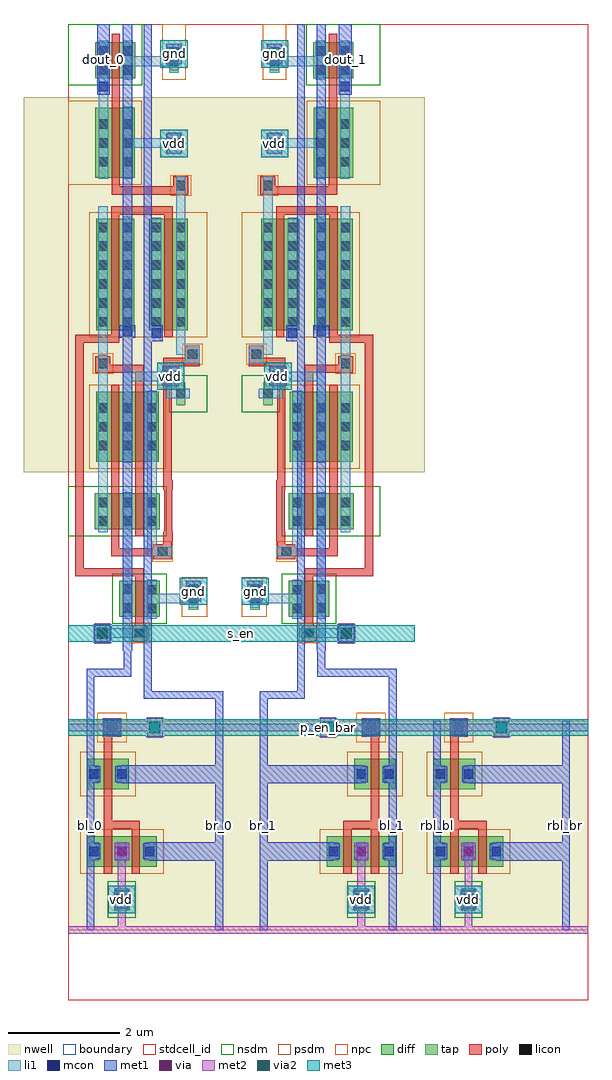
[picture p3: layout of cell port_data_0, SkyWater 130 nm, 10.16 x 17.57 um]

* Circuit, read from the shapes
.subckt port_data_0 bl_0 bl_1 br_0 br_1 dout_0 dout_1 gnd p_en_bar rbl_bl rbl_br s_en vdd
XM1 n1 n2 n3 gnd sky130_fd_pr__nfet_01v8 w=0.65 l=0.15
XM2 gnd n2 dout_0 gnd sky130_fd_pr__nfet_01v8 w=0.65 l=0.15
XM3 gnd s_en n1 gnd sky130_fd_pr__nfet_01v8 w=0.65 l=0.15
XM4 n2 n3 n1 gnd sky130_fd_pr__nfet_01v8 w=0.65 l=0.15
XM5 n4 s_en gnd gnd sky130_fd_pr__nfet_01v8 w=0.65 l=0.15
XM6 n4 n5 n6 gnd sky130_fd_pr__nfet_01v8 w=0.65 l=0.15
XM7 dout_1 n6 gnd gnd sky130_fd_pr__nfet_01v8 w=0.65 l=0.15
XM8 n5 n6 n4 gnd sky130_fd_pr__nfet_01v8 w=0.65 l=0.15
XM9 vdd p_en_bar bl_0 vdd sky130_fd_pr__pfet_01v8 w=0.55 l=0.15
XM10 br_0 p_en_bar bl_0 vdd sky130_fd_pr__pfet_01v8 w=0.55 l=0.15
XM11 vdd n2 n3 vdd sky130_fd_pr__pfet_01v8 w=1.26 l=0.15
XM12 bl_0 s_en n3 vdd sky130_fd_pr__pfet_01v8 w=2 l=0.15
XM13 vdd n2 dout_0 vdd sky130_fd_pr__pfet_01v8 w=1.26 l=0.15
XM14 br_0 p_en_bar vdd vdd sky130_fd_pr__pfet_01v8 w=0.55 l=0.15
XM15 n2 n3 vdd vdd sky130_fd_pr__pfet_01v8 w=1.26 l=0.15
XM16 n2 s_en br_0 vdd sky130_fd_pr__pfet_01v8 w=2 l=0.15
XM17 br_1 s_en n6 vdd sky130_fd_pr__pfet_01v8 w=2 l=0.15
XM18 vdd n5 n6 vdd sky130_fd_pr__pfet_01v8 w=1.26 l=0.15
XM19 dout_1 n6 vdd vdd sky130_fd_pr__pfet_01v8 w=1.26 l=0.15
XM20 n5 n6 vdd vdd sky130_fd_pr__pfet_01v8 w=1.26 l=0.15
XM21 n5 s_en bl_1 vdd sky130_fd_pr__pfet_01v8 w=2 l=0.15
XM22 vdd p_en_bar br_1 vdd sky130_fd_pr__pfet_01v8 w=0.55 l=0.15
XM23 bl_1 p_en_bar vdd vdd sky130_fd_pr__pfet_01v8 w=0.55 l=0.15
XM24 bl_1 p_en_bar br_1 vdd sky130_fd_pr__pfet_01v8 w=0.55 l=0.15
XM25 vdd p_en_bar rbl_bl vdd sky130_fd_pr__pfet_01v8 w=0.55 l=0.15
XM26 rbl_br p_en_bar rbl_bl vdd sky130_fd_pr__pfet_01v8 w=0.55 l=0.15
XM27 rbl_br p_en_bar vdd vdd sky130_fd_pr__pfet_01v8 w=0.55 l=0.15
.ends

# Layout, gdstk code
from math import pi, radians
import gdstk
lib = gdstk.Library(unit=1e-6, precision=1e-09)
def R(c, l, rs):  # rectangles x0, y0, x1, y1
    for r in rs: c.add(gdstk.rectangle(r[:2], r[2:], *l))
def A(c, l, x, y, w, h, nx, ny, dx, dy):  # array of equal rectangles
    R(c, l, [(x+i*dx, y+j*dy, x+i*dx+w, y+j*dy+h) for i in range(nx) for j in range(ny)])
nwell = (64, 20)
diff = (65, 20)
tap = (65, 44)
poly = (66, 20)
licon = (66, 44)
li1 = (67, 20)
mcon = (67, 44)
met1 = (68, 20)
via = (68, 44)
met2 = (69, 20)
via2 = (69, 44)
met3 = (70, 20)
stdcell_id = (81, 4)
nsdm = (93, 44)
psdm = (94, 20)
npc = (95, 20)
boundary = (235, 4)

contact_11 = lib.new_cell('contact_11')
R(contact_11, nwell, [(-0.295,-0.255,0.545,0.585)])
R(contact_11, diff, [(0,0.02,0.25,0.31)])
R(contact_11, licon, [(0.04,0.08,0.21,0.25)])
R(contact_11, li1, [(0.04,0,0.21,0.33)])
R(contact_11, stdcell_id, [(-0.295,-0.255,0.545,0.585)])
R(contact_11, psdm, [(-0.125,-0.105,0.375,0.435)])
R(contact_11, boundary, [(-0.295,-0.255,0.545,0.585)])

pmos_m1_w0_550_sli_dli = lib.new_cell('pmos_m1_w0_550_sli_dli')
R(pmos_m1_w0_550_sli_dli, nwell, [(-0.27,-0.27,1.02,0.82)])
R(pmos_m1_w0_550_sli_dli, diff, [(0,0,0.75,0.55)])
R(pmos_m1_w0_550_sli_dli, poly, [(0.3,-0.13,0.45,0.68), (0.3,-0.13,0.45,0.68)])
R(pmos_m1_w0_550_sli_dli, li1, [(0.04,0.11,0.21,0.44), (0.54,0.11,0.71,0.44)])
R(pmos_m1_w0_550_sli_dli, stdcell_id, [(-0.27,-0.27,1.02,0.82)])
R(pmos_m1_w0_550_sli_dli, psdm, [(-0.125,-0.125,0.875,0.675)])
R(pmos_m1_w0_550_sli_dli, boundary, [(-0.27,-0.27,1.02,0.82)])
pmos_m1_w0_550_sli_dli.add(gdstk.Reference(contact_11, (0,0.11)))
pmos_m1_w0_550_sli_dli.add(gdstk.Reference(contact_11, (0.5,0.11)))
pmos_m1_w0_550_sli_dli.add(gdstk.Label('S', (0.125,0.275), layer=67, texttype=16))
pmos_m1_w0_550_sli_dli.add(gdstk.Label('G', (0.375,0.275), layer=66, texttype=16))
pmos_m1_w0_550_sli_dli.add(gdstk.Label('D', (0.625,0.275), layer=67, texttype=16))

contact_12 = lib.new_cell('contact_12')
R(contact_12, poly, [(0,0,0.33,0.33)])
R(contact_12, licon, [(0.08,0.08,0.25,0.25)])
R(contact_12, li1, [(0.08,0,0.25,0.33)])
R(contact_12, stdcell_id, [(-0.1,-0.1,0.43,0.43)])
R(contact_12, npc, [(-0.1,-0.1,0.43,0.43)])
R(contact_12, boundary, [(-0.1,-0.1,0.43,0.43)])

contact_7 = lib.new_cell('contact_7')
R(contact_7, li1, [(0.06,0,0.23,0.33)])
R(contact_7, mcon, [(0.06,0.08,0.23,0.25)])
R(contact_7, met1, [(0,0.05,0.29,0.28)])
R(contact_7, stdcell_id, [(0,0,0.29,0.33)])
R(contact_7, boundary, [(0,0,0.29,0.33)])

contact_8 = lib.new_cell('contact_8')
R(contact_8, met1, [(0,0.03,0.32,0.29)])
R(contact_8, via, [(0.085,0.085,0.235,0.235)])
R(contact_8, met2, [(0.03,0,0.29,0.32)])
R(contact_8, stdcell_id, [(0,0,0.32,0.32)])
R(contact_8, boundary, [(0,0,0.32,0.32)])

contact_13 = lib.new_cell('contact_13')
R(contact_13, nwell, [(-0.295,-0.215,0.545,0.625)])
R(contact_13, tap, [(0,0,0.25,0.41)])
R(contact_13, licon, [(0.04,0.12,0.21,0.29)])
R(contact_13, li1, [(0.04,0.04,0.21,0.37)])
R(contact_13, stdcell_id, [(-0.295,-0.215,0.545,0.625)])
R(contact_13, nsdm, [(-0.125,-0.125,0.375,0.535)])
R(contact_13, boundary, [(-0.295,-0.215,0.545,0.625)])

contact_14 = lib.new_cell('contact_14')
R(contact_14, met1, [(0,0,0.26,0.32)])
R(contact_14, via, [(0.055,0.085,0.205,0.235)])
R(contact_14, met2, [(0,0,0.26,0.32)])
R(contact_14, stdcell_id, [(0,0,0.26,0.32)])
R(contact_14, boundary, [(0,0,0.26,0.32)])

contact_15 = lib.new_cell('contact_15')
R(contact_15, met2, [(0.025,0,0.305,0.37)])
R(contact_15, via2, [(0.065,0.085,0.265,0.285)])
R(contact_15, met3, [(0,0.02,0.33,0.35)])
R(contact_15, stdcell_id, [(0,0,0.33,0.37)])
R(contact_15, boundary, [(0,0,0.33,0.37)])

contact_16 = lib.new_cell('contact_16')
R(contact_16, li1, [(0.03,0,0.2,0.33)])
R(contact_16, mcon, [(0.03,0.08,0.2,0.25)])
R(contact_16, met1, [(0,0.02,0.23,0.31)])
R(contact_16, stdcell_id, [(0,0,0.23,0.33)])
R(contact_16, boundary, [(0,0,0.23,0.33)])

precharge_1 = lib.new_cell('precharge_1')
R(precharge_1, nwell, [(0,0,3.12,3.77)])
R(precharge_1, poly, [(0.64,0.05,0.79,0.2), (0.715,0.05,0.79,0.2), (0.64,0.125,0.79,0.56), (0.64,1.37,0.79,1.95), (0.64,1.8,1.29,1.95)])
R(precharge_1, met1, [(0.63,-0.005,0.95,0.255), (0.33,0,0.47,3.77), (0.33,0,0.47,3.77), (2.65,0,2.79,3.77), (2.65,0,2.79,3.77), (0.4,0.8,0.465,1.13), (0.965,0.8,2.72,1.13), (0.4,2.19,0.465,2.52), (1.465,2.19,2.72,2.52), (0.835,2.195,1.095,2.515)])
R(precharge_1, met2, [(0,0.055,3.12,0.195), (0.895,2.355,1.035,3.77), (0.825,3.1,1.105,3.34), (0,3.7,3.12,3.84)])
R(precharge_1, met3, [(0.72,2.975,1.21,3.465)])
R(precharge_1, stdcell_id, [(0,0,3.12,3.77)])
R(precharge_1, boundary, [(0,0,3.12,3.77)])
precharge_1.add(gdstk.Reference(pmos_m1_w0_550_sli_dli, (0.34,0.69)))
precharge_1.add(gdstk.Reference(pmos_m1_w0_550_sli_dli, (0.34,2.08)))
precharge_1.add(gdstk.Reference(pmos_m1_w0_550_sli_dli, (0.84,2.08)))
precharge_1.add(gdstk.Reference(contact_12, (0.625,-0.04)))
precharge_1.add(gdstk.Reference(contact_7, (0.645,-0.04)))
precharge_1.add(gdstk.Reference(contact_8, (0.63,-0.035)))
precharge_1.add(gdstk.Reference(contact_13, (0.84,3.015)))
precharge_1.add(gdstk.Reference(contact_7, (0.82,3.055)))
precharge_1.add(gdstk.Reference(contact_14, (0.835,3.06)))
precharge_1.add(gdstk.Reference(contact_15, (0.8,3.035)))
precharge_1.add(gdstk.Reference(contact_16, (0.85,2.19)))
precharge_1.add(gdstk.Reference(contact_14, (0.835,2.195)))
precharge_1.add(gdstk.Reference(contact_16, (0.35,0.8)))
precharge_1.add(gdstk.Reference(contact_16, (0.85,0.8)))
precharge_1.add(gdstk.Reference(contact_16, (0.35,2.19)))
precharge_1.add(gdstk.Reference(contact_16, (1.35,2.19)))
precharge_1.add(gdstk.Label('bl', (0.4,1.885), layer=68, texttype=16))
precharge_1.add(gdstk.Label('br', (2.72,1.885), layer=68, texttype=16))
precharge_1.add(gdstk.Label('en_bar', (1.56,0.125), layer=69, texttype=16))
precharge_1.add(gdstk.Label('vdd', (0.965,3.22), layer=70, texttype=16))

contact_9 = lib.new_cell('contact_9')
R(contact_9, met2, [(0.025,0,0.305,0.37)])
R(contact_9, via2, [(0.065,0.085,0.265,0.285)])
R(contact_9, met3, [(0,0.02,0.33,0.35)])
R(contact_9, stdcell_id, [(0,0,0.33,0.37)])
R(contact_9, boundary, [(0,0,0.33,0.37)])

precharge_array_0 = lib.new_cell('precharge_array_0')
R(precharge_array_0, met1, [(0.33,0,0.47,3.77), (2.65,0,2.79,3.77), (3.45,0,3.59,3.77), (5.77,0,5.91,3.77), (6.57,0,6.71,3.77), (8.89,0,9.03,3.77)])
R(precharge_array_0, met3, [(0,-0.025,9.36,0.275), (0.72,2.975,1.21,3.465), (5.03,2.975,5.52,3.465), (6.96,2.975,7.45,3.465)])
R(precharge_array_0, stdcell_id, [(0,0,9.36,3.77)])
R(precharge_array_0, boundary, [(0,0,9.36,3.77)])
precharge_array_0.add(gdstk.Reference(precharge_1, (0,0)))
precharge_array_0.add(gdstk.Reference(precharge_1, (6.24,0), rotation=pi, x_reflection=True))
precharge_array_0.add(gdstk.Reference(precharge_1, (6.24,0)))
precharge_array_0.add(gdstk.Reference(contact_9, (1.395,-0.06)))
precharge_array_0.add(gdstk.Reference(contact_9, (4.515,-0.06)))
precharge_array_0.add(gdstk.Reference(contact_9, (7.635,-0.06)))
precharge_array_0.add(gdstk.Label('br_2', (8.96,1.885), layer=68, texttype=16))
precharge_array_0.add(gdstk.Label('br_0', (2.72,1.885), layer=68, texttype=16))
precharge_array_0.add(gdstk.Label('en_bar', (4.68,0.125), layer=70, texttype=16))
precharge_array_0.add(gdstk.Label('bl_0', (0.4,1.885), layer=68, texttype=16))
precharge_array_0.add(gdstk.Label('bl_2', (6.64,1.885), layer=68, texttype=16))
precharge_array_0.add(gdstk.Label('br_1', (3.52,1.885), layer=68, texttype=16))
precharge_array_0.add(gdstk.Label('bl_1', (5.84,1.885), layer=68, texttype=16))
precharge_array_0.add(gdstk.Label('vdd', (7.205,3.22), layer=70, texttype=16))
precharge_array_0.add(gdstk.Label('vdd', (0.965,3.22), layer=70, texttype=16))
precharge_array_0.add(gdstk.Label('vdd', (5.275,3.22), layer=70, texttype=16))

sense_amp = lib.new_cell('sense_amp')
R(sense_amp, nwell, [(-0.8,1.32,3.42,2.62), (-0.8,2.62,3.41,8.07)])
R(sense_amp, diff, [(0.49,0.33,1.21,0.98), (0.49,1.51,1.2,2.77), (0.5,3.51,1.19,5.51), (1.46,3.51,2.15,5.51), (0.5,6.62,1.63,7.88), (0.48,8.445,1.65,9.095), (0.92,10.025,1.65,10.675)])
R(sense_amp, tap, [(1.82,0.415,1.99,0.875), (1.94,6.45,2.11,6.86), (2.17,10.085,2.34,10.545)])
R(sense_amp, poly, [(0.78,0.18,0.93,2.92), (1.89,2.74,2.16,2.92), (0.78,2.92,2.16,3.07), (0.77,3.28,1.88,3.43), (0.77,3.43,0.92,5.59), (1.73,3.43,1.88,5.64), (0.13,5.59,0.92,5.74), (0.13,5.74,0.28,9.795), (2.15,5.78,2.37,5.79), (2.1,5.79,2.37,6.01), (0.54,5.95,0.71,5.98), (0.49,5.98,0.76,6.13), (1.71,6.01,2.37,6.16), (0.49,6.13,1.36,6.28), (1.71,6.16,1.86,8.21), (1.21,6.28,1.36,9.225), (0.77,6.49,0.92,9.435), (1.71,8.21,1.88,8.38), (1.725,8.38,1.875,9.14), (1.71,9.14,1.88,9.31), (1.71,9.31,1.86,9.365), (1.53,9.365,1.86,9.435), (0.77,9.435,1.86,9.585), (1.53,9.585,1.86,9.635), (0.13,9.795,1.36,9.945), (1.21,9.945,1.36,10.8), (1.2,10.8,1.37,10.83), (1.15,10.83,1.42,11.1), (1.2,11.1,1.37,11.13)])
A(sense_amp, licon, 0.55, 1.715, 0.17, 0.17, 1, 3, 0, 0.34)
A(sense_amp, licon, 0.99, 1.715, 0.17, 0.17, 1, 3, 0, 0.34)
A(sense_amp, licon, 0.54, 3.575, 0.17, 0.17, 1, 6, 0, 0.34)
A(sense_amp, licon, 0.98, 3.575, 0.17, 0.17, 1, 6, 0, 0.34)
A(sense_amp, licon, 1.5, 3.575, 0.17, 0.17, 1, 6, 0, 0.34)
A(sense_amp, licon, 1.94, 3.575, 0.17, 0.17, 1, 6, 0, 0.34)
A(sense_amp, licon, 0.54, 6.825, 0.17, 0.17, 3, 3, 0.44, 0.34)
A(sense_amp, licon, 0.54, 8.525, 0.17, 0.17, 3, 2, 0.44, 0.34)
R(sense_amp, licon, [(0.55,0.4,0.72,0.57), (0.99,0.4,1.16,0.57), (1.82,0.585,1.99,0.755), (0.55,0.74,0.72,0.91), (0.99,0.74,1.16,0.91), (1.94,2.82,2.11,2.99), (2.15,5.86,2.32,6.03), (0.54,6.03,0.71,6.2), (1.94,6.57,2.11,6.74), (1.61,9.415,1.78,9.585), (0.98,10.09,1.15,10.26), (1.42,10.1,1.59,10.27), (2.17,10.255,2.34,10.425), (0.98,10.43,1.15,10.6), (1.42,10.44,1.59,10.61), (1.2,10.88,1.37,11.05)])
R(sense_amp, li1, [(0.55,0.3,0.72,2.79), (0.98,0.3,1.16,0.58), (1.82,0.415,1.99,0.58), (0.98,0.58,1.99,0.76), (0.98,0.76,1.16,1), (1.82,0.76,1.99,0.835), (0.99,1.49,1.16,2.06), (0.99,2.06,1.99,2.23), (0.99,2.23,1.16,2.79), (1.94,2.74,2.11,5.78), (0.54,3.28,0.71,9.15), (0.98,3.47,1.15,5.62), (1.5,3.49,1.67,5.65), (1.94,5.78,2.37,5.95), (2.1,5.95,2.37,6.11), (0.98,6.26,1.93,6.43), (0.98,6.43,1.15,7.9), (1.76,6.43,1.93,6.57), (1.76,6.57,2.19,6.74), (1.42,6.6,1.59,9.415), (0.98,8.425,1.15,10.71), (1.42,9.415,1.87,9.585), (1.42,10.005,1.59,10.255), (2.17,10.085,2.34,10.255), (1.42,10.255,2.34,10.425), (1.42,10.425,1.59,10.71), (2.17,10.425,2.34,10.505), (0.53,10.88,1.45,11.05), (0.53,11.05,0.7,11.06)])
R(sense_amp, mcon, [(1.82,0.415,1.99,0.585), (0.55,1.04,0.72,1.21), (1.82,2.06,1.99,2.23), (0.98,5.45,1.15,5.62), (1.5,5.48,1.67,5.65), (1.76,6.26,1.93,6.43), (2.17,10.085,2.34,10.255), (0.53,10.885,0.7,11.055)])
R(sense_amp, met1, [(0.52,0,0.75,1.27), (0.52,0,0.75,1.27), (0.98,0,1.15,5.42), (1.36,0,1.5,5.42), (1.79,0.355,2.02,0.725), (1.79,0.355,2.02,0.725), (1.79,1.96,2.02,2.34), (1.79,1.96,2.02,2.34), (0.92,5.42,1.21,5.65), (1.36,5.42,1.7,5.71), (0.98,5.65,1.15,11.28), (0.98,5.65,1.15,11.28), (1.36,5.71,1.5,11.28), (1.36,5.71,1.5,11.28), (1.69,6.17,2,6.51), (1.69,6.17,2,6.51), (2.14,10.025,2.37,10.395), (2.14,10.025,2.37,10.395), (0.47,10.82,0.76,11.12), (0.47,10.82,0.76,11.12)])
R(sense_amp, nsdm, [(0,0,1.335,1.105), (1.815,6.325,2.5,6.985), (0,8.32,1.775,9.22), (0.795,9.9,1.775,10.8)])
R(sense_amp, psdm, [(1.695,0,2.115,1), (0,1.385,1.325,2.895), (0.375,3.385,2.5,5.635), (0.375,6.495,1.755,8.005), (2.045,9.96,2.5,10.67)])
R(sense_amp, npc, [(1.84,2.72,2.21,3.09), (2.05,5.76,2.42,6.13), (0.44,5.93,0.81,6.3), (1.51,9.315,1.88,9.685), (1.1,10.78,1.47,11.15)])
R(sense_amp, boundary, [(0,0,2.5,11.28)])
sense_amp.add(gdstk.Label('vdd', (1.97,6.34), layer=68, texttype=16))
sense_amp.add(gdstk.Label('gnd', (2.25,10.055), layer=68, texttype=16))
sense_amp.add(gdstk.Label('bl', (1.07,11.24), layer=68, texttype=16))
sense_amp.add(gdstk.Label('br', (1.43,11.23), layer=68, texttype=16))
sense_amp.add(gdstk.Label('dout', (0.615,0.14), layer=68, texttype=16))
sense_amp.add(gdstk.Label('gnd', (1.9,0.385), layer=68, texttype=16))
sense_amp.add(gdstk.Label('vdd', (1.89,2), layer=68, texttype=16))
sense_amp.add(gdstk.Label('en', (0.5,10.95), layer=68, texttype=16))
sense_amp.add(gdstk.Label('gnd', (2.255,10.21), layer=68, texttype=16))
sense_amp.add(gdstk.Label('gnd', (1.905,0.54), layer=68, texttype=16))
sense_amp.add(gdstk.Label('bl', (1.065,8.465), layer=68, texttype=16))
sense_amp.add(gdstk.Label('br', (1.43,8.495), layer=68, texttype=16))
sense_amp.add(gdstk.Label('en', (0.615,10.97), layer=68, texttype=16))
sense_amp.add(gdstk.Label('dout', (0.635,0.635), layer=68, texttype=16))
sense_amp.add(gdstk.Label('vdd', (1.845,6.34), layer=68, texttype=16))
sense_amp.add(gdstk.Label('vdd', (1.905,2.15), layer=68, texttype=16))

sense_amp_array = lib.new_cell('sense_amp_array')
R(sense_amp_array, met1, [(0.52,0,0.75,1.27), (4.87,0,5.1,1.27), (0.98,5.65,1.15,11.28), (4.47,5.65,4.64,11.28), (1.36,5.71,1.5,11.28), (4.12,5.71,4.26,11.28)])
R(sense_amp_array, met2, [(1.765,0.42,2.045,0.66), (3.575,0.42,3.855,0.66), (1.765,2.03,2.045,2.27), (3.575,2.03,3.855,2.27), (1.705,6.22,1.985,6.46), (3.635,6.22,3.915,6.46), (2.115,10.09,2.395,10.33), (3.225,10.09,3.505,10.33), (0.475,10.85,0.755,11.09), (4.865,10.85,5.145,11.09)])
R(sense_amp_array, met3, [(1.66,0.295,2.15,0.785), (3.47,0.295,3.96,0.785), (1.66,1.905,2.15,2.395), (3.47,1.905,3.96,2.395), (1.6,6.095,2.09,6.585), (3.53,6.095,4.02,6.585), (2.01,9.965,2.5,10.455), (3.12,9.965,3.61,10.455), (0,10.82,6.24,11.12)])
R(sense_amp_array, stdcell_id, [(0,0,6.24,11.28)])
R(sense_amp_array, boundary, [(0,0,6.24,11.28)])
sense_amp_array.add(gdstk.Reference(sense_amp, (0,0)))
sense_amp_array.add(gdstk.Reference(sense_amp, (5.62,0), rotation=pi, x_reflection=True))
sense_amp_array.add(gdstk.Reference(contact_14, (2.125,10.05)))
sense_amp_array.add(gdstk.Reference(contact_15, (2.09,10.025)))
sense_amp_array.add(gdstk.Reference(contact_14, (1.775,0.38)))
sense_amp_array.add(gdstk.Reference(contact_15, (1.74,0.355)))
sense_amp_array.add(gdstk.Reference(contact_14, (1.715,6.18)))
sense_amp_array.add(gdstk.Reference(contact_15, (1.68,6.155)))
sense_amp_array.add(gdstk.Reference(contact_14, (1.775,1.99)))
sense_amp_array.add(gdstk.Reference(contact_15, (1.74,1.965)))
sense_amp_array.add(gdstk.Reference(contact_14, (3.235,10.05)))
sense_amp_array.add(gdstk.Reference(contact_15, (3.2,10.025)))
sense_amp_array.add(gdstk.Reference(contact_14, (3.585,0.38)))
sense_amp_array.add(gdstk.Reference(contact_15, (3.55,0.355)))
sense_amp_array.add(gdstk.Reference(contact_14, (3.645,6.18)))
sense_amp_array.add(gdstk.Reference(contact_15, (3.61,6.155)))
sense_amp_array.add(gdstk.Reference(contact_14, (3.585,1.99)))
sense_amp_array.add(gdstk.Reference(contact_15, (3.55,1.965)))
sense_amp_array.add(gdstk.Reference(contact_8, (0.455,10.81)))
sense_amp_array.add(gdstk.Reference(contact_9, (0.45,10.785)))
sense_amp_array.add(gdstk.Reference(contact_8, (4.845,10.81)))
sense_amp_array.add(gdstk.Reference(contact_9, (4.84,10.785)))
sense_amp_array.add(gdstk.Label('data_0', (0.635,0.635), layer=68, texttype=16))
sense_amp_array.add(gdstk.Label('gnd', (2.255,10.21), layer=70, texttype=16))
sense_amp_array.add(gdstk.Label('gnd', (3.365,10.21), layer=70, texttype=16))
sense_amp_array.add(gdstk.Label('gnd', (3.715,0.54), layer=70, texttype=16))
sense_amp_array.add(gdstk.Label('gnd', (1.905,0.54), layer=70, texttype=16))
sense_amp_array.add(gdstk.Label('bl_1', (4.555,8.465), layer=68, texttype=16))
sense_amp_array.add(gdstk.Label('bl_0', (1.065,8.465), layer=68, texttype=16))
sense_amp_array.add(gdstk.Label('en', (3.12,10.97), layer=70, texttype=16))
sense_amp_array.add(gdstk.Label('br_1', (4.19,8.495), layer=68, texttype=16))
sense_amp_array.add(gdstk.Label('br_0', (1.43,8.495), layer=68, texttype=16))
sense_amp_array.add(gdstk.Label('vdd', (1.905,2.15), layer=70, texttype=16))
sense_amp_array.add(gdstk.Label('vdd', (1.845,6.34), layer=70, texttype=16))
sense_amp_array.add(gdstk.Label('vdd', (3.715,2.15), layer=70, texttype=16))
sense_amp_array.add(gdstk.Label('vdd', (3.775,6.34), layer=70, texttype=16))
sense_amp_array.add(gdstk.Label('data_1', (4.985,0.635), layer=68, texttype=16))

port_data_0 = lib.new_cell('port_data_0')
R(port_data_0, met1, [(0.33,1.26,0.47,5.03), (2.65,1.26,2.79,5.03), (3.45,1.26,3.59,5.03), (5.77,1.26,5.91,5.03), (6.57,1.26,6.71,5.03), (8.89,1.26,9.03,5.03), (0.33,5.03,0.47,5.89), (2.65,5.03,2.79,5.49), (3.45,5.03,3.59,5.49), (5.77,5.03,5.91,5.89), (1.36,5.42,1.5,5.56), (1.43,5.42,2.72,5.56), (2.65,5.42,2.79,5.56), (3.45,5.42,3.59,5.56), (3.52,5.42,4.19,5.56), (4.12,5.42,4.26,5.56), (1.36,5.49,1.5,6.29), (4.12,5.49,4.26,6.29), (0.33,5.82,0.47,5.96), (0.4,5.82,1.065,5.96), (0.995,5.82,1.135,5.96), (4.485,5.82,4.625,5.96), (4.555,5.82,5.84,5.96), (5.77,5.82,5.91,5.96), (0.995,5.89,1.135,6.29), (4.485,5.89,4.625,6.29), (0.52,16.3,0.75,17.57), (4.87,16.3,5.1,17.57)])
R(port_data_0, met3, [(0.72,1.565,1.21,2.055), (5.03,1.565,5.52,2.055), (6.96,1.565,7.45,2.055), (0,4.755,9.36,5.055), (0,6.45,6.24,6.75), (2.01,7.115,2.5,7.605), (3.12,7.115,3.61,7.605), (1.6,10.985,2.09,11.475), (3.53,10.985,4.02,11.475), (1.66,15.175,2.15,15.665), (3.47,15.175,3.96,15.665), (1.66,16.785,2.15,17.275), (3.47,16.785,3.96,17.275)])
R(port_data_0, stdcell_id, [(0,0,9.36,17.57)])
R(port_data_0, boundary, [(0,0,9.36,17.57)])
port_data_0.add(gdstk.Reference(precharge_array_0, (0,5.03), x_reflection=True))
port_data_0.add(gdstk.Reference(sense_amp_array, (0,17.57), x_reflection=True))
port_data_0.add(gdstk.Label('rbl_bl', (6.64,3.145), layer=68, texttype=16))
port_data_0.add(gdstk.Label('dout_0', (0.635,16.935), layer=68, texttype=16))
port_data_0.add(gdstk.Label('p_en_bar', (4.68,4.905), layer=70, texttype=16))
port_data_0.add(gdstk.Label('rbl_br', (8.96,3.145), layer=68, texttype=16))
port_data_0.add(gdstk.Label('br_0', (2.72,3.145), layer=68, texttype=16))
port_data_0.add(gdstk.Label('vdd', (1.905,15.42), layer=70, texttype=16))
port_data_0.add(gdstk.Label('vdd', (5.275,1.81), layer=70, texttype=16))
port_data_0.add(gdstk.Label('vdd', (1.845,11.23), layer=70, texttype=16))
port_data_0.add(gdstk.Label('vdd', (0.965,1.81), layer=70, texttype=16))
port_data_0.add(gdstk.Label('vdd', (3.715,15.42), layer=70, texttype=16))
port_data_0.add(gdstk.Label('vdd', (3.775,11.23), layer=70, texttype=16))
port_data_0.add(gdstk.Label('vdd', (7.205,1.81), layer=70, texttype=16))
port_data_0.add(gdstk.Label('dout_1', (4.985,16.935), layer=68, texttype=16))
port_data_0.add(gdstk.Label('gnd', (3.365,7.36), layer=70, texttype=16))
port_data_0.add(gdstk.Label('gnd', (3.715,17.03), layer=70, texttype=16))
port_data_0.add(gdstk.Label('gnd', (2.255,7.36), layer=70, texttype=16))
port_data_0.add(gdstk.Label('gnd', (1.905,17.03), layer=70, texttype=16))
port_data_0.add(gdstk.Label('bl_0', (0.4,3.145), layer=68, texttype=16))
port_data_0.add(gdstk.Label('s_en', (3.12,6.6), layer=70, texttype=16))
port_data_0.add(gdstk.Label('br_1', (3.52,3.145), layer=68, texttype=16))
port_data_0.add(gdstk.Label('bl_1', (5.84,3.145), layer=68, texttype=16))

lib.write_gds('port_data_0.gds')
